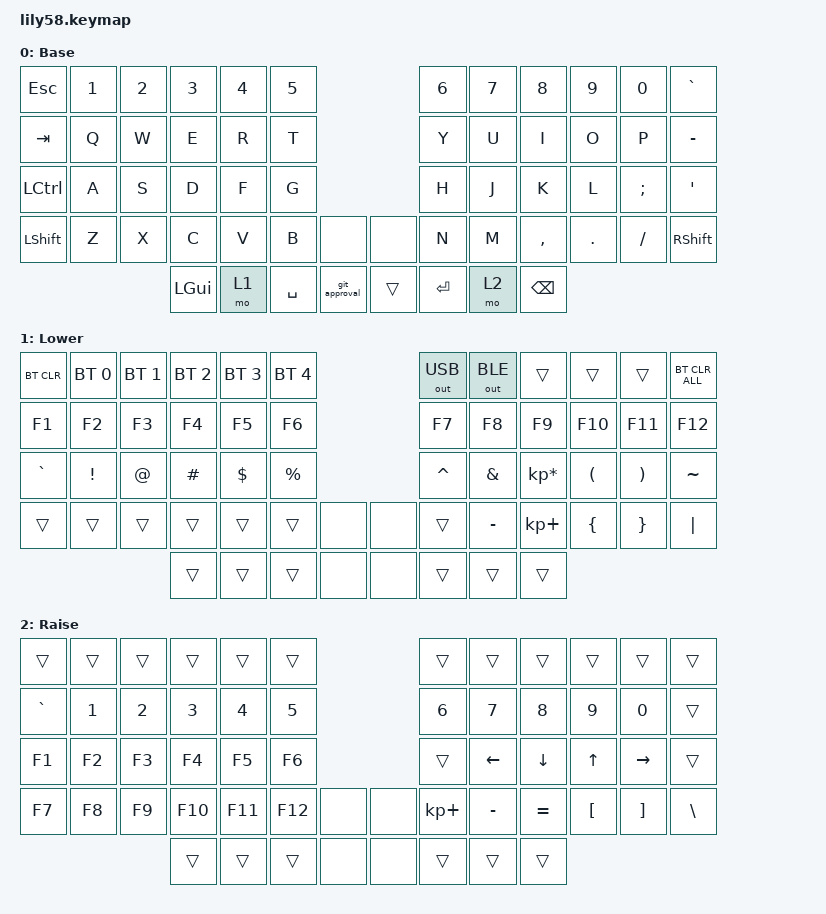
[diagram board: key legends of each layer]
/*
 * Copyright (c) 2020 The ZMK Contributors
 *
 * SPDX-License-Identifier: MIT
 */

#include <behaviors.dtsi>
#include <dt-bindings/zmk/bt.h>
#include <dt-bindings/zmk/keys.h>
#include <dt-bindings/zmk/outputs.h>

/ {
    macros {
        git_approval: git_approval {
            compatible = "zmk,behavior-macro";
            #binding-cells = <0>;
            bindings = <&none &kp LS(L) &kp LS(G) &kp LS(T) &kp LS(M) &kp EXCL &kp SPACE &kp COLON &kp R &kp O &kp C &kp K &kp E &kp T &kp COLON>;
            label = "GIT_APPROVAL";
        };

        run_ministack: run_ministack {
            compatible = "zmk,behavior-macro";
            #binding-cells = <0>;
            bindings = <&none &kp D &kp O &kp C &kp K &kp E &kp R &kp SPACE &kp R &kp U &kp N &kp SPACE &kp MINUS &kp P &kp SPACE &kp N4 &kp N5 &kp N6 &kp N6 &kp COLON &kp N4 &kp N5 &kp N6 &kp N6 &kp SPACE &kp M &kp I &kp N &kp I &kp S &kp T &kp A &kp C &kp K &kp O &kp R &kp G &kp FSLH &kp M &kp I &kp N &kp I &kp S &kp T &kp A &kp C &kp K>;
            label = "RUN_MINISTACK";
        };
    };

    keymap {
        compatible = "zmk,keymap";

        default_layer {
            // ------------------------------------------------------------------------------------------------------------
            // |  ESC  |  1  |  2  |  3   |  4   |  5   |                   |  6   |  7    |  8    |  9   |   0   |   `   |
            // |  TAB  |  Q  |  W  |  E   |  R   |  T   |                   |  Y   |  U    |  I    |  O   |   P   |   -   |
            // |  CTRL |  A  |  S  |  D   |  F   |  G   |                   |  H   |  J    |  K    |  L   |   ;   |   '   |
            // | SHIFT |  Z  |  X  |  C   |  V   |  B   |  n/a   |  |  n/a  |  N   |  M    |  ,    |  .   |   /   | SHIFT |
            //                     | GUI  | LOWER| SPACE|  n/a   |  |  n/a  | ENTER| RAISE | BSPC  |
            // Note: Silakka54 has 54 keys - the 4 positions marked n/a are not present (inner thumb + encoder positions)

            display-name = "Base";
            bindings = <
&kp ESC    &kp N1  &kp N2  &kp N3    &kp N4  &kp N5                              &kp N6   &kp N7  &kp N8     &kp N9   &kp N0    &kp GRAVE
&kp TAB    &kp Q   &kp W   &kp E     &kp R   &kp T                               &kp Y    &kp U   &kp I      &kp O    &kp P     &kp MINUS
&kp LCTRL  &kp A   &kp S   &kp D     &kp F   &kp G                               &kp H    &kp J   &kp K      &kp L    &kp SEMI  &kp SQT
&kp LSHFT  &kp Z   &kp X   &kp C     &kp V   &kp B      &none            &none   &kp N    &kp M   &kp COMMA  &kp DOT  &kp FSLH  &kp RSHFT
                           &kp LGUI  &mo 1   &kp SPACE  &git_approval    &trans  &kp RET  &mo 2   &kp BSPC
            >;
        };

        lower_layer {
            // ------------------------------------------------------------------------------------------------------------
            // | BTCLR | BT1 | BT2 |  BT3 |  BT4 |  BT5 |                   | USB  | BLE   |       |      |       |BTCLRALL|
            // |  F1   |  F2 |  F3 |  F4  |  F5  |  F6  |                   |  F7  |  F8   |  F9   |  F10 |  F11  |  F12  |
            // |   `   |  !  |  @  |  #   |  $   |  %   |                   |  ^   |  &    |  *    |  (   |   )   |   ~   |
            // |       |     |     |      |      |      |  n/a   |  |  n/a  |      |  _    |  +    |  {   |   }   |  "|"  |
            //                     |      |      |      |  n/a   |  |  n/a  |      |       |       |

            display-name = "Lower";
            bindings = <
&bt BT_CLR  &bt BT_SEL 0  &bt BT_SEL 1  &bt BT_SEL 2  &bt BT_SEL 3  &bt BT_SEL 4                  &out OUT_USB  &out OUT_BLE  &trans           &trans    &trans    &bt BT_CLR_ALL
&kp F1      &kp F2        &kp F3        &kp F4        &kp F5        &kp F6                        &kp F7        &kp F8        &kp F9           &kp F10   &kp F11   &kp F12
&kp GRAVE   &kp EXCL      &kp AT        &kp HASH      &kp DOLLAR    &kp PRCNT                     &kp CARET     &kp AMPS      &kp KP_MULTIPLY  &kp LPAR  &kp RPAR  &kp TILDE
&trans      &trans        &trans        &trans        &trans        &trans        &none    &none  &trans        &kp MINUS     &kp KP_PLUS      &kp LBRC  &kp RBRC  &kp PIPE
                                        &trans        &trans        &trans        &none    &none  &trans        &trans        &trans
            >;
        };

        raise_layer {
            // ------------------------------------------------------------------------------------------------------------
            // |       |     |     |      |      |      |                   |      |       |       |      |       |       |
            // |   `   |  1  |  2  |  3   |  4   |  5   |                   |  6   |   7   |   8   |  9   |   0   |       |
            // |   F1  |  F2 |  F3 |  F4  |  F5  |  F6  |                   |      |   <-  |   v   |  ^   |  ->   |       |
            // |   F7  |  F8 |  F9 |  F10 |  F11 |  F12 |  n/a   |  |  n/a  |  +   |   -   |   =   |  [   |   ]   |   \   |
            //                     |      |      |      |  n/a   |  |  n/a  |      |       |       |

            display-name = "Raise";
            bindings = <
&trans     &trans  &trans  &trans   &trans   &trans                   &trans       &trans     &trans     &trans    &trans     &trans
&kp GRAVE  &kp N1  &kp N2  &kp N3   &kp N4   &kp N5                   &kp N6       &kp N7     &kp N8     &kp N9    &kp N0     &trans
&kp F1     &kp F2  &kp F3  &kp F4   &kp F5   &kp F6                   &trans       &kp LEFT   &kp DOWN   &kp UP    &kp RIGHT  &trans
&kp F7     &kp F8  &kp F9  &kp F10  &kp F11  &kp F12  &none    &none  &kp KP_PLUS  &kp MINUS  &kp EQUAL  &kp LBKT  &kp RBKT   &kp BSLH
                           &trans   &trans   &trans   &none    &none  &trans       &trans     &trans
            >;
        };

        extra_1 { status = "reserved"; };

        extra_2 { status = "reserved"; };

        extra_3 { status = "reserved"; };
    };
};
